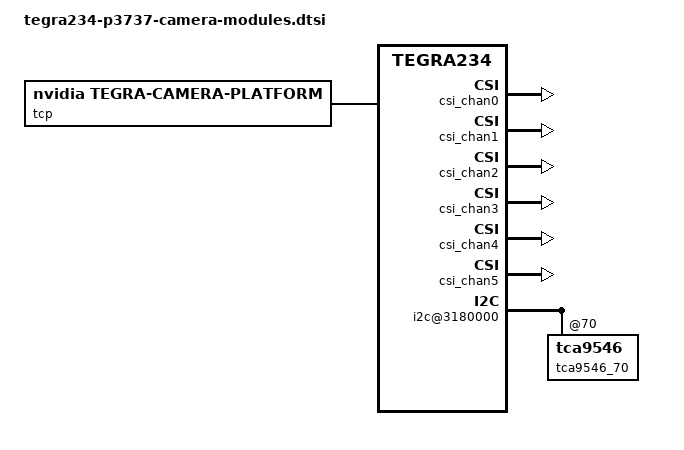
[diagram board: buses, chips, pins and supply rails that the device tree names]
/*
 * Copyright (c) 2022, NVIDIA CORPORATION.  All rights reserved.
 *
 * This program is free software; you can redistribute it and/or modify it
 * under the terms and conditions of the GNU General Public License,
 * version 2, as published by the Free Software Foundation.
 *
 * This program is distributed in the hope it will be useful, but WITHOUT
 * ANY WARRANTY; without even the implied warranty of MERCHANTABILITY or
 * FITNESS FOR A PARTICULAR PURPOSE.  See the GNU General Public License for
 * more details.
 *
 * You should have received a copy of the GNU General Public License
 * along with this program.  If not, see <http://www.gnu.org/licenses/>.
 */

/* These headers don't exist yet.
 * TODO: add below headers for corresponding sensor modules.
 * #include "tegra234-p3737-0000-camera-e3377-a00.dtsi"
 * #include "tegra234-p3737-0000-camera-e3326-a00.dtsi"
 * #include "tegra234-p3737-0000-camera-vivid.dtsi"
 * #include "tegra234-p3737-0000-camera-imx274-a00.dtsi"
 */
/*
#include "tegra234-p3737-0000-camera-e3331-a00.dtsi"
#include "tegra234-p3737-0000-camera-e3333-a00.dtsi"
#include "tegra234-p3737-0000-camera-imx185-a00.dtsi"
#include "tegra234-p3737-0000-camera-imx390-a00.dtsi"
#include "tegra234-p3737-0000-camera-imx274-dual.dtsi"
*/

#define CAM0_RST_L	TEGRA234_MAIN_GPIO(H, 3)
#define CAM0_PWDN	TEGRA234_MAIN_GPIO(H, 6)
#define CAM1_RST_L	TEGRA234_MAIN_GPIO(AC, 1)
#define CAM1_PWDN	TEGRA234_MAIN_GPIO(AC, 0)

/ {
	tegra-camera-platform {
		/**
		* tpg_max_iso = <>;
		* Max iso bw for 6 streams of tpg
		* streams * nvcsi_freq * PG_bitrate / RG10 * BPP
		* 6 * 102Mhz * 32 bits/ 10 bits * 2 Bps
		* = 3916.8 MBps
		*/
#ifdef CAM_SERDES_GMSL
		tpg_max_iso = <3916800>;
#elif defined(CAM_SERDES_FPDL)	// FIX:?
		tpg_max_iso = <8000000>;
#endif
	};

	/* set camera gpio direction to output */
	gpio@2200000 {
		camera-control-output-low {
			gpio-hog;
			output-low;
			gpios = <CAM0_RST_L 0 CAM0_PWDN 0
				 CAM1_RST_L 0 CAM1_PWDN 0>;
			label = "cam0-rst", "cam0-pwdn",
				"cam1-rst", "cam1-pwdn";
			status = "disabled";	// FIX:-
		};
	};

	/* all cameras are disabled by default */
	capture_vi_base: tegra-capture-vi {
		ports {
			vi_port0: port@0 {
				status = "okay";
				vi_in0: endpoint {
					vc-id = <0>;
					status = "okay";
				};
			};
			vi_port1: port@1 {
				status = "okay";
				vi_in1: endpoint {
					vc-id = <0>;
					status = "okay";
				};
			};
			vi_port2: port@2 {
				status = "okay";
				vi_in2: endpoint {
					vc-id = <0>;
					status = "okay";
				};
			};
			vi_port3: port@3 {
				status = "okay";
				vi_in3: endpoint {
					vc-id = <0>;
					status = "okay";
				};
			};
			vi_port4: port@4 {
				status = "okay";
				vi_in4: endpoint {
					vc-id = <0>;
					status = "okay";
				};
			};
			vi_port5: port@5 {
				status = "okay";
				vi_in5: endpoint {
					vc-id = <0>;
					status = "okay";
				};
			};
		};
	};

	host1x@13e00000 {
		csi_base: nvcsi@15a00000 {
			num-tpg-channels = <36>;
			csi_chan0: channel@0 {
				status = "okay";
				ports {
					csi_chan0_port0: port@0 {
						status = "okay";
						csi_in0: endpoint@0 {
							status = "okay";
						};
					};
					csi_chan0_port1: port@1 {
						status = "okay";
						csi_out0: endpoint@1 {
							status = "okay";
						};
					};
				};
			};
			csi_chan1: channel@1 {
				status = "okay";
				ports {
					csi_chan1_port0: port@0 {
						status = "okay";
						csi_in1: endpoint@2 {
							status = "okay";
						};
					};
					csi_chan1_port1: port@1 {
						status = "okay";
						csi_out1: endpoint@3 {
							status = "okay";
						};
					};
				};
			};
			csi_chan2: channel@2 {
				status = "okay";
				ports {
					csi_chan2_port0: port@0 {
						status = "okay";
						csi_in2: endpoint@4 {
							status = "okay";
						};
					};
					csi_chan2_port1: port@1 {
						status = "okay";
						csi_out2: endpoint@5 {
							status = "okay";
						};
					};
				};
			};
			csi_chan3: channel@3 {
				status = "okay";
				ports {
					csi_chan3_port0: port@0 {
						status = "okay";
						csi_in3: endpoint@6 {
							status = "okay";
						};
					};
					csi_chan3_port1: port@1 {
						status = "okay";
						csi_out3: endpoint@7 {
							status = "okay";
						};
					};
				};
			};
			csi_chan4: channel@4 {
				status = "okay";
				ports {
					csi_chan4_port0: port@0 {
						status = "okay";
						csi_in4: endpoint@8 {
							status = "okay";
						};
					};
					csi_chan4_port1: port@1 {
						status = "okay";
						csi_out4: endpoint@9 {
							status = "okay";
						};
					};
				};
			};
			csi_chan5: channel@5 {
				status = "okay";
				ports {
					csi_chan5_port0: port@0 {
						status = "okay";
						csi_in5: endpoint@10 {
							status = "okay";
						};
					};
					csi_chan5_port1: port@1 {
						status = "okay";
						csi_out5: endpoint@11 {
							status = "okay";
						};
					};
				};
			};
		};
	};

	i2c@3180000 {
		e3326_cam0: ov5693_c@36 {
			status = "disabled";
		};
		e2832_cam0: e2832@2b {
			status = "disabled";
		};
		tca6408@21 {
			status = "disabled";
		};
		tca9548@77 {
			status = "disabled";
			i2c@0 {
				e3333_cam0: ov5693_a@36 {
					status = "disabled";
				};
			};
			i2c@1 {
				e3333_cam1: ov5693_b@36 {
					status = "disabled";
				};
			};
			i2c@2 {
				e3333_cam2: ov5693_c@36 {
					status = "disabled";
				};
			};
			i2c@3 {
				e3333_cam3: ov5693_d@36 {
					status = "disabled";
				};
			};
			i2c@4 {
				e3333_cam4: ov5693_e@36 {
					status = "disabled";
				};
			};
			i2c@5 {
				e3333_cam5: ov5693_g@36 {
					status = "disabled";
				};
			};
		};
		tca9546_70: tca9546@70 {
			status = "okay";	// FIX:*
			i2c@0 {
				pca9570_a_24: pca9570_a@24 {
					status = "disabled";
				};
				imx274_cam0: imx274_a@1a {
					status = "disabled";
				};
				imx185_cam0: imx185_a@1a {
					status = "disabled";
				};
				e3331_cam0: imx318_a@10 {
					status = "disable";
				};
				max9296_dser: max9296@48 {
					status = "disabled";
				};
				max9295_prim: max9295_prim@62 {
					status = "disabled";
				};
				max9295_ser0: max9295_a@40 {
					status = "disabled";
				};
				max9295_ser1: max9295_b@60 {
					status = "disabled";
				};
				imx390_cam0: imx390_a@1b {
					status = "disabled";
				};
				imx390_cam1: imx390_b@1c {
					status = "disabled";
				};
			};
			i2c@1 {
				imx274_cam1: imx274_c@1a {
					status = "disabled";
				};
			};
		};
	};

	tcp: tegra-camera-platform {
		compatible = "nvidia, tegra-camera-platform";
		modules {
			cam_module0: module0 {
				status = "okay";
				cam_module0_drivernode0: drivernode0 {
					status = "okay";
				};
				cam_module0_drivernode1: drivernode1 {
					status = "disabled";
					pcl_id = "v4l2_lens";
				};
			};
			cam_module1: module1 {
				status = "okay";
				cam_module1_drivernode0: drivernode0 {
					status = "okay";
				};
				cam_module1_drivernode1: drivernode1 {
					status = "disabled";
					pcl_id = "v4l2_lens";
				};
			};
			cam_module2: module2 {
				status = "okay";
				cam_module2_drivernode0: drivernode0 {
					status = "okay";
				};
				cam_module2_drivernode1: drivernode1 {
					status = "disabled";
					pcl_id = "v4l2_lens";
				};
			};
			cam_module3: module3 {
				status = "okay";
				cam_module3_drivernode0: drivernode0 {
					status = "okay";
				};
				cam_module3_drivernode1: drivernode1 {
					status = "disabled";
					pcl_id = "v4l2_lens";
				};
			};
			cam_module4: module4 {
				status = "okay";
				cam_module4_drivernode0: drivernode0 {
					status = "okay";
				};
				cam_module4_drivernode1: drivernode1 {
					status = "disabled";
					pcl_id = "v4l2_lens";
				};
			};
			cam_module5: module5 {
				status = "okay";
				cam_module5_drivernode0: drivernode0 {
					status = "okay";
				};
				cam_module5_drivernode1: drivernode1 {
					status = "disabled";
					pcl_id = "v4l2_lens";
				};
			};
		};
	};
};

#include "tegra234-p3737-0000-camera-imx390-a00_otocam.dtsi"	// FIX:+
#if (CSI_NUM_CHANS>4)
//#include "otocam/tegra194-p2822-0000-camera-imx390-a00-4.dtsi"	// FIX:+
#endif
